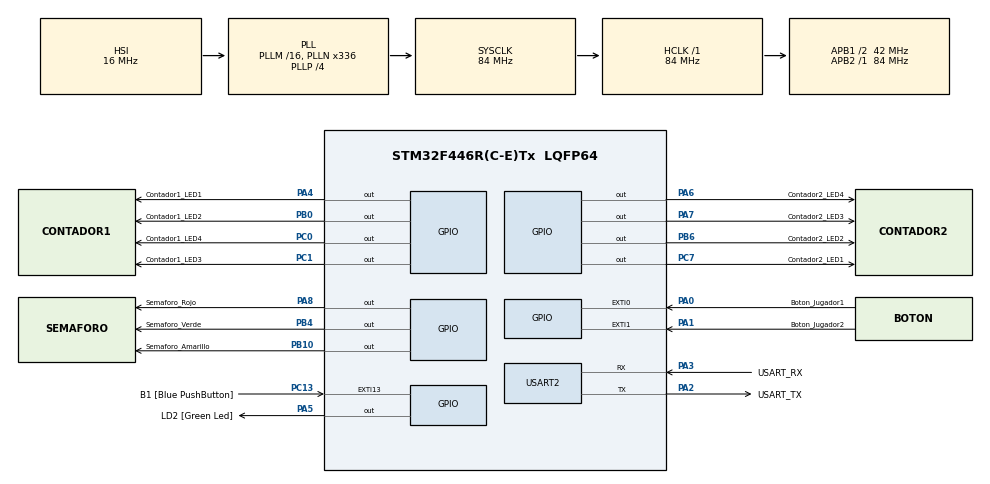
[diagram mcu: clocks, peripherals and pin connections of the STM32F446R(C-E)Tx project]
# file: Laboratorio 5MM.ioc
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Mcu.Family=STM32F4
Mcu.Name=STM32F446R(C-E)Tx
Mcu.Package=LQFP64
NVIC.EXTI0_IRQn=true\:0\:0\:false\:false\:true\:true\:true\:true
NVIC.EXTI1_IRQn=true\:0\:0\:false\:false\:true\:true\:true\:true
NVIC.PriorityGroup=NVIC_PRIORITYGROUP_0
NVIC.USART2_IRQn=true\:0\:0\:false\:false\:true\:true\:true\:true
PA0-WKUP.GPIO_Label=Boton_Jugador1
PA0-WKUP.GPIO_PuPd=GPIO_PULLDOWN
PA0-WKUP.Signal=GPXTI0
PA1.GPIO_Label=Boton_Jugador2
PA1.GPIO_PuPd=GPIO_PULLDOWN
PA1.Signal=GPXTI1
PA13.GPIO_Label=TMS
PA13.Signal=SYS_JTMS-SWDIO
PA14.GPIO_Label=TCK
PA14.Signal=SYS_JTCK-SWCLK
PA2.GPIO_Label=USART_TX
PA2.Mode=Asynchronous
PA2.Signal=USART2_TX
PA3.GPIO_Label=USART_RX
PA3.Mode=Asynchronous
PA3.Signal=USART2_RX
PA4.GPIO_Label=Contador1_LED1
PA4.Signal=GPIO_Output
PA5.GPIO_Label=LD2 [Green Led]
PA5.Signal=GPIO_Output
PA6.GPIO_Label=Contador2_LED4
PA6.Signal=GPIO_Output
PA7.GPIO_Label=Contador2_LED3
PA7.Signal=GPIO_Output
PA8.GPIO_Label=Semaforo_Rojo
PA8.Signal=GPIO_Output
PB0.GPIO_Label=Contador1_LED2
PB0.Signal=GPIO_Output
PB10.GPIO_Label=Semaforo_Amarillo
PB10.Signal=GPIO_Output
PB3.GPIO_Label=SWO
PB3.Signal=SYS_JTDO-SWO
PB4.GPIO_Label=Semaforo_Verde
PB4.Signal=GPIO_Output
PB6.GPIO_Label=Contador2_LED2
PB6.Signal=GPIO_Output
PC0.GPIO_Label=Contador1_LED4
PC0.Signal=GPIO_Output
PC1.GPIO_Label=Contador1_LED3
PC1.Signal=GPIO_Output
PC13.GPIO_Label=B1 [Blue PushButton]
PC13.GPIO_ModeDefaultEXTI=GPIO_MODE_IT_FALLING
PC13.Signal=GPXTI13
PC14-OSC32_IN.Signal=RCC_OSC32_IN
PC15-OSC32_OUT.Signal=RCC_OSC32_OUT
PC7.GPIO_Label=Contador2_LED1
PC7.Signal=GPIO_Output
PH0-OSC_IN.Signal=RCC_OSC_IN
PH1-OSC_OUT.Signal=RCC_OSC_OUT
ProjectManager.HeapSize=0x200
ProjectManager.StackSize=0x400
ProjectManager.TargetToolchain=STM32CubeIDE
RCC.AHBFreq_Value=84000000
RCC.APB1CLKDivider=RCC_HCLK_DIV2
RCC.APB1Freq_Value=42000000
RCC.APB1TimFreq_Value=84000000
RCC.APB2Freq_Value=84000000
RCC.APB2TimFreq_Value=84000000
RCC.CortexFreq_Value=84000000
RCC.FLatency-AdvancedSettings=FLASH_LATENCY_2
RCC.HCLKFreq_Value=84000000
RCC.HSE_VALUE=8000000
RCC.HSI_VALUE=16000000
RCC.LSE_VALUE=32768
RCC.PLLN=336
RCC.PLLP=RCC_PLLP_DIV4
RCC.SYSCLKFreq_VALUE=84000000
RCC.SYSCLKSource=RCC_SYSCLKSOURCE_PLLCLK
RCC.USBFreq_Value=168000000
RCC.VCOOutputFreq_Value=336000000
USART2.VirtualMode=VM_ASYNC
board=NUCLEO-F446RE

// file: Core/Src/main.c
/* USER CODE BEGIN Header */

/**
  ******************************************************************************
  * Universidad del Valle de Guatemala
  * Curso: Electrónica Digital 2
  * Laboratorio 5
  *
  * Nombre: Stephany Mejía
  * Carnet: 24037
  *
  ******************************************************************************
  * @file           : main.c
  * @brief          : Main program body
  ******************************************************************************
  * @attention
  *
  * Copyright (c) 2026 STMicroelectronics.
  * All rights reserved.
  *
  * This software is licensed under terms that can be found in the LICENSE file
  * in the root directory of this software component.
  * If no LICENSE file comes with this software, it is provided AS-IS.
  *
  ******************************************************************************
  */

/* USER CODE END Header */
#include "main.h"

UART_HandleTypeDef huart2;

/* USER CODE BEGIN PV */

//VARIABLES DECLARADAS

// ========================================
// JUGADOR 1
// ========================================

// Posición actual del Jugador 1
volatile uint8_t contadorJugador1 = 0;

// Tiempo de la última pulsación para anti-rebote
uint32_t tiempoBotonJugador1 = 0;

// ========================================
// JUGADOR 2
// ========================================

// Posición actual del Jugador 2
volatile uint8_t contadorJugador2 = 0;

// Tiempo de la última pulsación para anti-rebote
uint32_t tiempoBotonJugador2 = 0;

// ========================================
// CONTROL DEL JUEGO
// ========================================

// 0 = jugadores bloqueados
// 1 = carrera activa
volatile uint8_t juegoIniciado = 0;

// 0 = semáforo apagado
// 1 = secuencia del semáforo en proceso
volatile uint8_t semaforoActivo = 0;

// ========================================
// UART
// ========================================

// Guarda el carácter recibido
uint8_t datoUART;

// Se activa al recibir S o s
volatile uint8_t iniciarSemaforo = 0;

// ========================================
// GANADOR
// ========================================

// 0 = no hay ganador
// 1 = ganó Jugador 1
// 2 = ganó Jugador 2
volatile uint8_t ganador = 0;

// Indica que falta enviar el mensaje del ganador
volatile uint8_t enviarGanador = 0;

/* USER CODE END PV */

void SystemClock_Config(void);
static void MX_GPIO_Init(void);
static void MX_USART2_UART_Init(void);

/* USER CODE BEGIN 0 */

// ========================================
// MOSTRAR CONTADOR JUGADOR 1
// ========================================

//controla los LEDs del jugador 1.
void mostrarContador1(uint8_t valor)
{
    // Apagar todos los LEDs
    HAL_GPIO_WritePin(Contador1_LED1_GPIO_Port,
                      Contador1_LED1_Pin,
                      GPIO_PIN_RESET);

    HAL_GPIO_WritePin(Contador1_LED2_GPIO_Port,
                      Contador1_LED2_Pin,
                      GPIO_PIN_RESET);

    HAL_GPIO_WritePin(Contador1_LED3_GPIO_Port,
                      Contador1_LED3_Pin,
                      GPIO_PIN_RESET);

    HAL_GPIO_WritePin(Contador1_LED4_GPIO_Port,
                      Contador1_LED4_Pin,
                      GPIO_PIN_RESET);

    // Encender el LED correspondiente
    switch (valor)
    {
        case 0:
            // Todos apagados
            break;

        case 1:
            HAL_GPIO_WritePin(Contador1_LED1_GPIO_Port,
                              Contador1_LED1_Pin,
                              GPIO_PIN_SET);
            break;

        case 2:
            HAL_GPIO_WritePin(Contador1_LED2_GPIO_Port,
                              Contador1_LED2_Pin,
                              GPIO_PIN_SET);
            break;

        case 3:
            HAL_GPIO_WritePin(Contador1_LED3_GPIO_Port,
                              Contador1_LED3_Pin,
                              GPIO_PIN_SET);
            break;

        case 4:
            HAL_GPIO_WritePin(Contador1_LED4_GPIO_Port,
                              Contador1_LED4_Pin,
                              GPIO_PIN_SET);
            break;
    }
}

// ========================================
// MOSTRAR CONTADOR JUGADOR 2
// ========================================

//controla los LEDs del jugador 2.
void mostrarContador2(uint8_t valor)
{
    // Apagar todos los LEDs
    HAL_GPIO_WritePin(Contador2_LED1_GPIO_Port,
                      Contador2_LED1_Pin,
                      GPIO_PIN_RESET);

    HAL_GPIO_WritePin(Contador2_LED2_GPIO_Port,
                      Contador2_LED2_Pin,
                      GPIO_PIN_RESET);

    HAL_GPIO_WritePin(Contador2_LED3_GPIO_Port,
                      Contador2_LED3_Pin,
                      GPIO_PIN_RESET);

    HAL_GPIO_WritePin(Contador2_LED4_GPIO_Port,
                      Contador2_LED4_Pin,
                      GPIO_PIN_RESET);

    // Encender el LED correspondiente
    switch (valor)
    {
        case 0:
            // Todos apagados
            break;

        case 1:
            HAL_GPIO_WritePin(Contador2_LED1_GPIO_Port,
                              Contador2_LED1_Pin,
                              GPIO_PIN_SET);
            break;

        case 2:
            HAL_GPIO_WritePin(Contador2_LED2_GPIO_Port,
                              Contador2_LED2_Pin,
                              GPIO_PIN_SET);
            break;

        case 3:
            HAL_GPIO_WritePin(Contador2_LED3_GPIO_Port,
                              Contador2_LED3_Pin,
                              GPIO_PIN_SET);
            break;

        case 4:
            HAL_GPIO_WritePin(Contador2_LED4_GPIO_Port,
                              Contador2_LED4_Pin,
                              GPIO_PIN_SET);
            break;
    }
}

/* USER CODE END 0 */

int main(void)
{

  /* MCU Configuration--------------------------------------------------------*/

  /* Reset of all peripherals, Initializes the Flash interface and the Systick. */
  HAL_Init();

  /* Configure the system clock */
  SystemClock_Config();

  /* Initialize all configured peripherals */
  MX_GPIO_Init();
  MX_USART2_UART_Init();

  /* USER CODE BEGIN 2 */

  // Mostrar ambos jugadores inicialmente en 0
  mostrarContador1(contadorJugador1);
  mostrarContador2(contadorJugador2);

  // Preparar UART para recibir 1 carácter por interrupción
  HAL_UART_Receive_IT(&huart2, &datoUART, 1);

  /* USER CODE END 2 */

  /* Infinite loop */
  while (1)
  {

    /* USER CODE BEGIN 3 */

	  // ========================================
	  // ENVIAR MENSAJE DEL GANADOR
	  // ========================================

	  // Revisar si existe un mensaje de ganador pendiente
	  if (enviarGanador == 1)
	  {

	      // Si ganó el Jugador 1
	      if (ganador == 1)
	      {
	          // Mensaje que se enviará por UART
	          uint8_t mensaje[] = "El ganador es Jugador 1!\r\n";

	          // Enviar el mensaje a la computadora
	          HAL_UART_Transmit(&huart2,
	                            mensaje,
	                            sizeof(mensaje) - 1,
	                            HAL_MAX_DELAY);
	      }

	      // Si ganó el Jugador 2
	      else if (ganador == 2)
	      {
	          // Mensaje que se enviará por UART
	          uint8_t mensaje[] = "El ganador es Jugador 2!\r\n";

	          // Enviar el mensaje a la computadora
	          HAL_UART_Transmit(&huart2,
	                            mensaje,
	                            sizeof(mensaje) - 1,
	                            HAL_MAX_DELAY);
	      }

	      // El mensaje ya fue enviado,
	      // por lo que se baja la bandera
	    	      enviarGanador = 0;
	  }

	  // ========================================
	  // INICIAR NUEVA CARRERA
	  // ========================================

	  // Revisar si se recibió el comando S o s
	  // y se debe iniciar una nueva carrera
	  if (iniciarSemaforo == 1)
	  {
	      // Bajar la bandera para evitar
	      // que la secuencia se repita
	      iniciarSemaforo = 0;

	      // Mantener bloqueados a los jugadores
	      // mientras se realiza la secuencia
	      juegoIniciado = 0;

	      // ========================================
	      // REINICIAR LA CARRERA
	      // ========================================

	      // Reiniciar la posición de ambos jugadores
	      contadorJugador1 = 0;
	      contadorJugador2 = 0;

	      // Indicar que todavía no hay ganador
	      ganador = 0;

	      // Actualizar los LEDs para mostrar
	      // que ambos jugadores están en posición 0
	      mostrarContador1(contadorJugador1);
	      mostrarContador2(contadorJugador2);

	      // ========================================
	      // SEMÁFORO ROJO
	      // ========================================

	      // Encender LED rojo
	      HAL_GPIO_WritePin(Semaforo_Rojo_GPIO_Port,
	                        Semaforo_Rojo_Pin,
	                        GPIO_PIN_SET);

	      // Mantenerlo encendido durante 1 segundo
	      HAL_Delay(1000);

	      // Apagar LED rojo
	      HAL_GPIO_WritePin(Semaforo_Rojo_GPIO_Port,
	                        Semaforo_Rojo_Pin,
	                        GPIO_PIN_RESET);

	      // ========================================
	      // SEMÁFORO AMARILLO
	      // ========================================

	      // Encender LED amarillo
	      HAL_GPIO_WritePin(Semaforo_Amarillo_GPIO_Port,
	                        Semaforo_Amarillo_Pin,
	                        GPIO_PIN_SET);

	      // Mantenerlo encendido durante 1 segundo
	      HAL_Delay(1000);

	      // Apagar LED amarillo
	      HAL_GPIO_WritePin(Semaforo_Amarillo_GPIO_Port,
	                        Semaforo_Amarillo_Pin,
	                        GPIO_PIN_RESET);

	      // ========================================
	      // SEMÁFORO VERDE
	      // ========================================

	      // Encender LED verde
	      HAL_GPIO_WritePin(Semaforo_Verde_GPIO_Port,
	                        Semaforo_Verde_Pin,
	                        GPIO_PIN_SET);

	      // Mantenerlo encendido durante 1 segundo
	      HAL_Delay(1000);

	      // Apagar LED verde
	      HAL_GPIO_WritePin(Semaforo_Verde_GPIO_Port,
	                        Semaforo_Verde_Pin,
	                        GPIO_PIN_RESET);

	      // ========================================
	      // FIN DE LA SECUENCIA
	      // ========================================

	      // Indicar que el semáforo ya terminó
	      semaforoActivo = 0;

	      // Habilitar los botones de ambos jugadores
	      juegoIniciado = 1;

	      // ========================================
	      // MENSAJE DE INICIO
	      // ========================================

	      // Mensaje que indica que ya pueden comenzar
	      uint8_t mensajeInicio[] = "Inicia el juego!\r\n";

	      // Enviar el mensaje por UART
	      HAL_UART_Transmit(&huart2,
	                        mensajeInicio,
	                        sizeof(mensajeInicio) - 1,
	                        HAL_MAX_DELAY);
	  }

  }
  /* USER CODE END 3 */
}

void SystemClock_Config(void)
{
  RCC_OscInitTypeDef RCC_OscInitStruct = {0};
  RCC_ClkInitTypeDef RCC_ClkInitStruct = {0};

  /** Configure the main internal regulator output voltage
  */
  __HAL_RCC_PWR_CLK_ENABLE();
  __HAL_PWR_VOLTAGESCALING_CONFIG(PWR_REGULATOR_VOLTAGE_SCALE3);

  /** Initializes the RCC Oscillators according to the specified parameters
  * in the RCC_OscInitTypeDef structure.
  */
  RCC_OscInitStruct.OscillatorType = RCC_OSCILLATORTYPE_HSI;
  RCC_OscInitStruct.HSIState = RCC_HSI_ON;
  RCC_OscInitStruct.HSICalibrationValue = RCC_HSICALIBRATION_DEFAULT;
  RCC_OscInitStruct.PLL.PLLState = RCC_PLL_ON;
  RCC_OscInitStruct.PLL.PLLSource = RCC_PLLSOURCE_HSI;
  RCC_OscInitStruct.PLL.PLLM = 16;
  RCC_OscInitStruct.PLL.PLLN = 336;
  RCC_OscInitStruct.PLL.PLLP = RCC_PLLP_DIV4;
  RCC_OscInitStruct.PLL.PLLQ = 2;
  RCC_OscInitStruct.PLL.PLLR = 2;
  if (HAL_RCC_OscConfig(&RCC_OscInitStruct) != HAL_OK)
  {
    Error_Handler();
  }

  /** Initializes the CPU, AHB and APB buses clocks
  */
  RCC_ClkInitStruct.ClockType = RCC_CLOCKTYPE_HCLK|RCC_CLOCKTYPE_SYSCLK
                              |RCC_CLOCKTYPE_PCLK1|RCC_CLOCKTYPE_PCLK2;
  RCC_ClkInitStruct.SYSCLKSource = RCC_SYSCLKSOURCE_PLLCLK;
  RCC_ClkInitStruct.AHBCLKDivider = RCC_SYSCLK_DIV1;
  RCC_ClkInitStruct.APB1CLKDivider = RCC_HCLK_DIV2;
  RCC_ClkInitStruct.APB2CLKDivider = RCC_HCLK_DIV1;

  if (HAL_RCC_ClockConfig(&RCC_ClkInitStruct, FLASH_LATENCY_2) != HAL_OK)
  {
    Error_Handler();
  }
}

static void MX_USART2_UART_Init(void)
{

  huart2.Instance = USART2;
  huart2.Init.BaudRate = 115200;
  huart2.Init.WordLength = UART_WORDLENGTH_8B;
  huart2.Init.StopBits = UART_STOPBITS_1;
  huart2.Init.Parity = UART_PARITY_NONE;
  huart2.Init.Mode = UART_MODE_TX_RX;
  huart2.Init.HwFlowCtl = UART_HWCONTROL_NONE;
  huart2.Init.OverSampling = UART_OVERSAMPLING_16;
  if (HAL_UART_Init(&huart2) != HAL_OK)
  {
    Error_Handler();
  }

}

static void MX_GPIO_Init(void)
{
  GPIO_InitTypeDef GPIO_InitStruct = {0};

  /* GPIO Ports Clock Enable */
  __HAL_RCC_GPIOC_CLK_ENABLE();
  __HAL_RCC_GPIOH_CLK_ENABLE();
  __HAL_RCC_GPIOA_CLK_ENABLE();
  __HAL_RCC_GPIOB_CLK_ENABLE();

  /*Configure GPIO pin Output Level */
  HAL_GPIO_WritePin(GPIOC, Contador1_LED4_Pin|Contador1_LED3_Pin|Contador2_LED1_Pin, GPIO_PIN_RESET);

  /*Configure GPIO pin Output Level */
  HAL_GPIO_WritePin(GPIOA, Contador1_LED1_Pin|LD2_Pin|Contador2_LED4_Pin|Contador2_LED3_Pin
                          |Semaforo_Rojo_Pin, GPIO_PIN_RESET);

  /*Configure GPIO pin Output Level */
  HAL_GPIO_WritePin(GPIOB, Contador1_LED2_Pin|Semaforo_Amarillo_Pin|Semaforo_Verde_Pin|Contador2_LED2_Pin, GPIO_PIN_RESET);

  /*Configure GPIO pin : B1_Pin */
  GPIO_InitStruct.Pin = B1_Pin;
  GPIO_InitStruct.Mode = GPIO_MODE_IT_FALLING;
  GPIO_InitStruct.Pull = GPIO_NOPULL;
  HAL_GPIO_Init(B1_GPIO_Port, &GPIO_InitStruct);

  /*Configure GPIO pins : Contador1_LED4_Pin Contador1_LED3_Pin Contador2_LED1_Pin */
  GPIO_InitStruct.Pin = Contador1_LED4_Pin|Contador1_LED3_Pin|Contador2_LED1_Pin;
  GPIO_InitStruct.Mode = GPIO_MODE_OUTPUT_PP;
  GPIO_InitStruct.Pull = GPIO_NOPULL;
  GPIO_InitStruct.Speed = GPIO_SPEED_FREQ_LOW;
  HAL_GPIO_Init(GPIOC, &GPIO_InitStruct);

  /*Configure GPIO pins : Boton_Jugador1_Pin Boton_Jugador2_Pin */
  GPIO_InitStruct.Pin = Boton_Jugador1_Pin|Boton_Jugador2_Pin;
  GPIO_InitStruct.Mode = GPIO_MODE_IT_RISING;
  GPIO_InitStruct.Pull = GPIO_PULLDOWN;
  HAL_GPIO_Init(GPIOA, &GPIO_InitStruct);

  /*Configure GPIO pins : Contador1_LED1_Pin LD2_Pin Contador2_LED4_Pin Contador2_LED3_Pin
                           Semaforo_Rojo_Pin */
  GPIO_InitStruct.Pin = Contador1_LED1_Pin|LD2_Pin|Contador2_LED4_Pin|Contador2_LED3_Pin
                          |Semaforo_Rojo_Pin;
  GPIO_InitStruct.Mode = GPIO_MODE_OUTPUT_PP;
  GPIO_InitStruct.Pull = GPIO_NOPULL;
  GPIO_InitStruct.Speed = GPIO_SPEED_FREQ_LOW;
  HAL_GPIO_Init(GPIOA, &GPIO_InitStruct);

  /*Configure GPIO pins : Contador1_LED2_Pin Semaforo_Amarillo_Pin Semaforo_Verde_Pin Contador2_LED2_Pin */
  GPIO_InitStruct.Pin = Contador1_LED2_Pin|Semaforo_Amarillo_Pin|Semaforo_Verde_Pin|Contador2_LED2_Pin;
  GPIO_InitStruct.Mode = GPIO_MODE_OUTPUT_PP;
  GPIO_InitStruct.Pull = GPIO_NOPULL;
  GPIO_InitStruct.Speed = GPIO_SPEED_FREQ_LOW;
  HAL_GPIO_Init(GPIOB, &GPIO_InitStruct);

  /* EXTI interrupt init*/
  HAL_NVIC_SetPriority(EXTI0_IRQn, 0, 0);
  HAL_NVIC_EnableIRQ(EXTI0_IRQn);

  HAL_NVIC_SetPriority(EXTI1_IRQn, 0, 0);
  HAL_NVIC_EnableIRQ(EXTI1_IRQn);

}

/* USER CODE BEGIN 4 */

// ========================================
// INTERRUPCIONES DE LOS BOTONES
// ========================================

void HAL_GPIO_EXTI_Callback(uint16_t GPIO_Pin)
{
    // ====================================
    // JUGADOR 1
    // ====================================

    if (GPIO_Pin == Boton_Jugador1_Pin)
    {
        // Solo permitir avanzar si la carrera está activa
        if (juegoIniciado == 1)
        {
            // Anti-rebote de 200 ms
            if ((HAL_GetTick() - tiempoBotonJugador1) >= 200)
            {
                tiempoBotonJugador1 = HAL_GetTick();

                // Incrementar hasta llegar a 4
                if (contadorJugador1 < 4)
                {
                    contadorJugador1++;
                }

                // Mostrar posición
                mostrarContador1(contadorJugador1);

                // ====================================
                // VERIFICAR SI GANÓ JUGADOR 1
                // ====================================

                if (contadorJugador1 == 4)
                {
                    // Guardar ganador
                    ganador = 1;

                    // Pedir que se envíe el mensaje por UART
                    enviarGanador = 1;

                    // Bloquear inmediatamente a los dos jugadores
                    juegoIniciado = 0;
                }
            }
        }
    }

    // ====================================
    // JUGADOR 2
    // ====================================

    if (GPIO_Pin == Boton_Jugador2_Pin)
    {
        // Solo permitir avanzar si la carrera está activa
        if (juegoIniciado == 1)
        {
            // Anti-rebote independiente de 200 ms
            if ((HAL_GetTick() - tiempoBotonJugador2) >= 200)
            {
                tiempoBotonJugador2 = HAL_GetTick();

                // Incrementar hasta llegar a 4
                if (contadorJugador2 < 4)
                {
                    contadorJugador2++;
                }

                // Mostrar posición
                mostrarContador2(contadorJugador2);

                // ====================================
                // VERIFICAR SI GANÓ JUGADOR 2
                // ====================================

                if (contadorJugador2 == 4)
                {
                    // Guardar ganador
                    ganador = 2;

                    // Pedir que se envíe el mensaje por UART
                    enviarGanador = 1;

                    // Bloquear inmediatamente a los dos jugadores
                    juegoIniciado = 0;
                }
            }
        }
    }
}

// ========================================
// INTERRUPCIÓN DE RECEPCIÓN UART
// ========================================

void HAL_UART_RxCpltCallback(UART_HandleTypeDef *huart)
{
    // Verificar que el dato llegó por USART2
    if (huart->Instance == USART2)
    {
        // Si se recibió S o s
        if (datoUART == 'S' || datoUART == 's')
        {
            // Solo permitir una nueva carrera si:
            // - no hay una carrera activa
            // - no está corriendo actualmente el semáforo
            // - ya se envió cualquier mensaje pendiente
            if ((juegoIniciado == 0) &&
                (semaforoActivo == 0) &&
                (enviarGanador == 0))
            {
                // Marcar que empieza la secuencia
                semaforoActivo = 1;
                iniciarSemaforo = 1;
            }
        }

        // Preparar nuevamente UART para recibir
        // otro carácter
        HAL_UART_Receive_IT(&huart2, &datoUART, 1);
    }
}

/* USER CODE END 4 */

void Error_Handler(void)
{
  __disable_irq();
  while (1)
  {
  }
}
